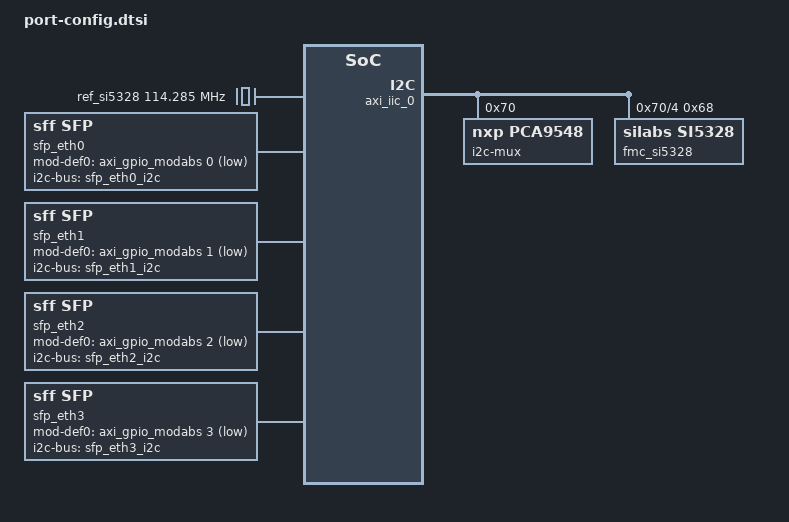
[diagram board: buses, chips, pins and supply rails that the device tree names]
// SPDX-License-Identifier: MIT
// Copyright (C) 2025-2026, Opsero Electronic Design Inc.  All rights reserved.

/*
 * Quad SFP28 FMC (XXV) port config: ports-versal-0123 (ported from PetaLinux bsp/ports-versal-0123).
 * Per-port wiring layered on the SDT-generated Linux device tree.
 */

/* Versal variant of port-config.dtsi for 4-port designs.
 *
 * Versal's SDT generates one xxv_ethernet IP per port, each in its own
 * sfp_port<N> hierarchy: the labels are sfp_port0_xxv_ethernet through
 * sfp_port3_xxv_ethernet. (ZynqMP has a single XXV with 4 channels and
 * uses xxv_ethernet_0 / xxv_ethernet_0_1/_2/_3 — a different label set.)
 * That's why this file sits in its own BSP overlay (bsp/ports-versal-0123)
 * rather than in the shared bsp/ports-0123.
 *
 * Versal also doesn't need the QPLL reset GPIO that the ZynqMP design
 * uses — the GTY/CPM5 quad doesn't get stuck the same way after a refclk
 * glitch. The Vivado bd_versal.tcl correspondingly only adds an
 * input-only AXI GPIO (axi_gpio_modabs) for the four MOD_ABS lines, and
 * this DT only references that — no qpllreset-gpios property anywhere.
 *
 * MAC addresses: Versal's SDT already assigns sequential per-port MACs
 * (00:0a:35:00:00:00..03), so no local-mac-address overrides here either.
 */

/ {
	ref_si5328: ref_si5328 {
	    compatible = "fixed-clock";
	    #clock-cells = <0>;
	    clock-frequency = <114285000>;
	};
};

&axi_iic_0 {
        i2c-mux@70 {
                compatible = "nxp,pca9548";
                #address-cells = <1>;
                #size-cells = <0>;
                reg = <0x70>;
                sfp_eth0_i2c: i2c@0 {
                        #address-cells = <1>;
                        #size-cells = <0>;
                        reg = <0>;
                        /* SFP28 slot 0 */
                };
                sfp_eth1_i2c: i2c@1 {
                        #address-cells = <1>;
                        #size-cells = <0>;
                        reg = <1>;
                        /* SFP28 slot 1 */
                };
                sfp_eth2_i2c: i2c@2 {
                        #address-cells = <1>;
                        #size-cells = <0>;
                        reg = <2>;
                        /* SFP28 slot 2 */
                };
                sfp_eth3_i2c: i2c@3 {
                        #address-cells = <1>;
                        #size-cells = <0>;
                        reg = <3>;
                        /* SFP28 slot 3 */
                };
                i2c@4 {
                        #address-cells = <1>;
                        #size-cells = <0>;
                        reg = <4>;
                        fmc_si5328: clock-generator@68 {
                                status = "okay";
                                compatible = "silabs,si5328";
                                reg = <0x68>;
                                #address-cells = <1>;
                                #size-cells = <0>;
                                #clock-cells = <1>;
                                clocks = <&ref_si5328>;
                                clock-names = "xtal";

                                fmc_si5328_clk: clk0@0 {
                                        reg = <0>;
                                        clock-frequency = <156250000>;
                                };
                        };
                };
        };
};

/* SFP cage descriptors. mod-def0-gpios references the 4-bit input
 * channel of axi_gpio_modabs — line indices 0..3 are mod_abs[0..3].
 * Active-low: line LOW = module present, line HIGH = module absent. */
/ {
        sfp_eth0: sfp-eth0 {
                compatible = "sff,sfp";
                i2c-bus = <&sfp_eth0_i2c>;
                mod-def0-gpios = <&axi_gpio_modabs 0 1>;
                maximum-power-milliwatt = <2000>;
        };

        sfp_eth1: sfp-eth1 {
                compatible = "sff,sfp";
                i2c-bus = <&sfp_eth1_i2c>;
                mod-def0-gpios = <&axi_gpio_modabs 1 1>;
                maximum-power-milliwatt = <2000>;
        };

        sfp_eth2: sfp-eth2 {
                compatible = "sff,sfp";
                i2c-bus = <&sfp_eth2_i2c>;
                mod-def0-gpios = <&axi_gpio_modabs 2 1>;
                maximum-power-milliwatt = <2000>;
        };

        sfp_eth3: sfp-eth3 {
                compatible = "sff,sfp";
                i2c-bus = <&sfp_eth3_i2c>;
                mod-def0-gpios = <&axi_gpio_modabs 3 1>;
                maximum-power-milliwatt = <2000>;
        };
};

/* Per-port XXV overrides — link each MAC to its SFP cage so phylink
 * delegates module presence detection to the SFP framework. */
&sfp_port0_xxv_ethernet {
        sfp = <&sfp_eth0>;
};

&sfp_port1_xxv_ethernet {
        sfp = <&sfp_eth1>;
};

&sfp_port2_xxv_ethernet {
        sfp = <&sfp_eth2>;
};

&sfp_port3_xxv_ethernet {
        sfp = <&sfp_eth3>;
};
